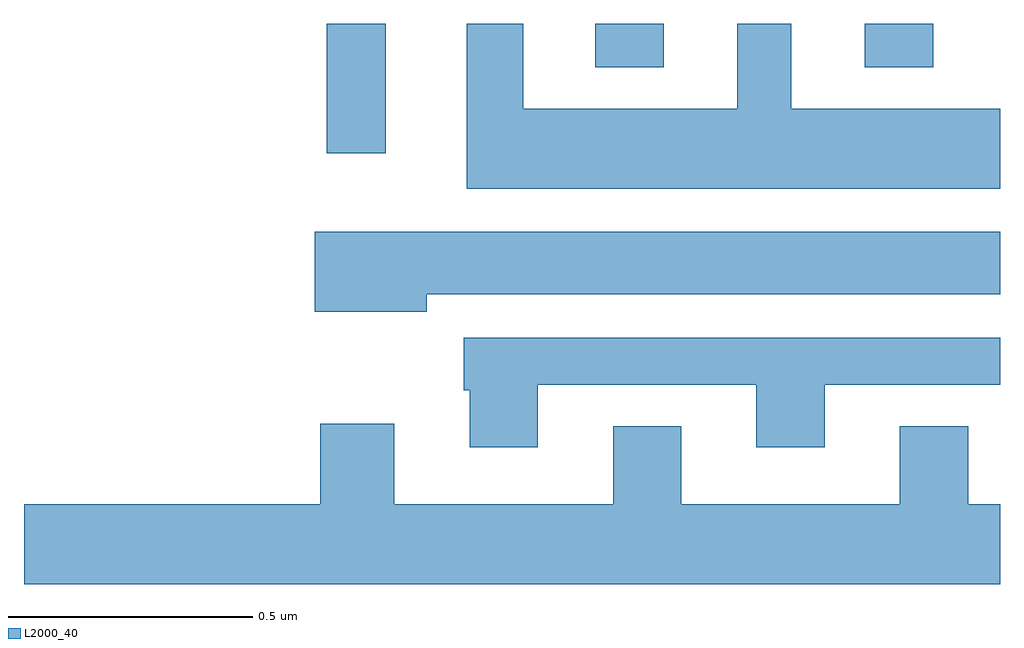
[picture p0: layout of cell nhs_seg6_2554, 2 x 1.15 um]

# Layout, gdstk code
import gdstk
lib = gdstk.Library(unit=1e-6, precision=1e-09)
def R(c, l, rs):  # rectangles x0, y0, x1, y1
    for r in rs: c.add(gdstk.rectangle(r[:2], r[2:], *l))
def P(c, l, *ps):  # polygons
    for p in ps: c.add(gdstk.Polygon(p, *l))
L2000_40 = (2000, 40)

nhs_seg6_2554 = lib.new_cell('nhs_seg6_2554')
R(nhs_seg6_2554, L2000_40, [(145.62,932.235,145.741,932.5), (146.171,932.411,146.311,932.5), (146.723,932.411,146.863,932.5)])
P(nhs_seg6_2554, L2000_40, [(147,932.326),(146.572,932.326),(146.572,932.5),(146.462,932.5),(146.462,932.326),(146.023,932.326),(146.023,932.5),(145.907,932.5),(145.907,932.162),(147,932.162)],
  [(145.825,931.946),(147,931.946),(147,932.074),(145.596,932.074),(145.596,931.91),(145.825,931.91)],
  [(146.053,931.761),(146.501,931.761),(146.501,931.632),(146.641,931.632),(146.641,931.761),(147,931.761),(147,931.857),(145.901,931.857),(145.901,931.749),(145.913,931.749),(145.913,931.632),(146.053,931.632)],
  [(147,931.516),(146.935,931.516),(146.935,931.676),(146.795,931.676),(146.795,931.516),(146.347,931.516),(146.347,931.676),(146.207,931.676),(146.207,931.516),(145.759,931.516),(145.759,931.681),(145.607,931.681),(145.607,931.516),(145,931.516),(145,931.352),(147,931.352)])

lib.write_gds('nhs_seg6_2554.gds')
